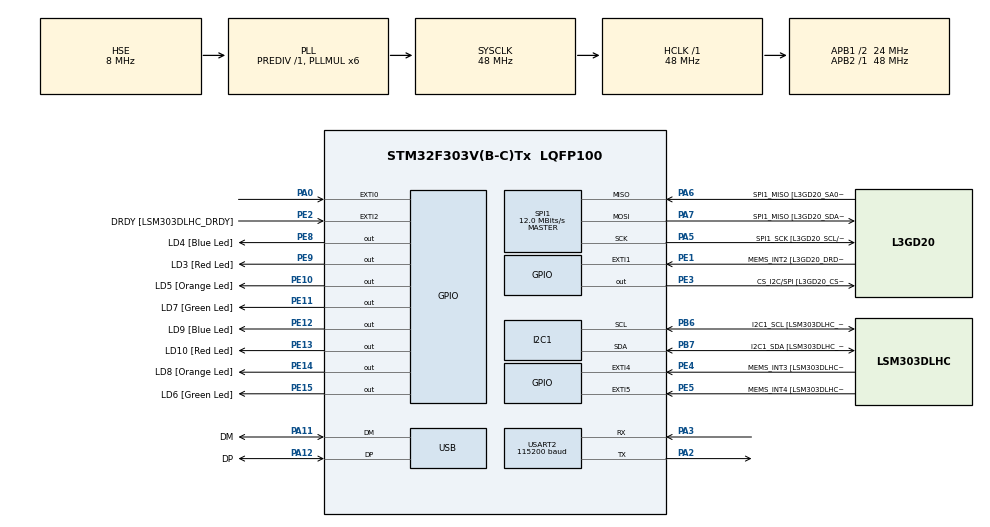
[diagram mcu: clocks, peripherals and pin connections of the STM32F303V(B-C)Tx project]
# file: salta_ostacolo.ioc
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I2C1.Timing=0x00201D2B
I2C1.Timing-I2C=0x2000090E
Mcu.Family=STM32F3
Mcu.Name=STM32F303V(B-C)Tx
Mcu.Package=LQFP100
NVIC.EXTI0_IRQn=true\:0\:0\:false\:false\:true\:true\:true\:true
NVIC.PriorityGroup=NVIC_PRIORITYGROUP_0
NVIC.TIM6_DAC_IRQn=true\:0\:0\:false\:false\:true\:true\:true\:true
PA0.Signal=GPXTI0
PA11.GPIO_Label=DM
PA11.Mode=Device
PA11.Signal=USB_DM
PA12.GPIO_Label=DP
PA12.Mode=Device
PA12.Signal=USB_DP
PA13.GPIO_Label=SWDIO
PA13.Mode=Serial_Wire
PA13.Signal=SYS_JTMS-SWDIO
PA14.GPIO_Label=SWCLK
PA14.Mode=Serial_Wire
PA14.Signal=SYS_JTCK-SWCLK
PA2.Mode=Asynchronous
PA2.Signal=USART2_TX
PA3.Mode=Asynchronous
PA3.Signal=USART2_RX
PA5.GPIO_Label=SPI1_SCK [L3GD20_SCL/SPC]
PA5.Mode=Full_Duplex_Master
PA5.Signal=SPI1_SCK
PA6.GPIO_Label=SPI1_MISO [L3GD20_SA0/SDO]
PA6.Mode=Full_Duplex_Master
PA6.Signal=SPI1_MISO
PA7.GPIO_Label=SPI1_MISO [L3GD20_SDA/SDI/SDO]
PA7.Mode=Full_Duplex_Master
PA7.Signal=SPI1_MOSI
PB3.GPIO_Label=SWO
PB3.Signal=SYS_JTDO-TRACESWO
PB6.GPIO_Label=I2C1_SCL [LSM303DLHC_SCL]
PB6.GPIO_Pu=GPIO_PULLUP
PB6.Mode=I2C
PB6.Signal=I2C1_SCL
PB7.GPIO_Label=I2C1_SDA [LSM303DLHC_SDA]
PB7.GPIO_Pu=GPIO_PULLUP
PB7.Mode=I2C
PB7.Signal=I2C1_SDA
PC14-OSC32_IN.GPIO_Label=OSC32_IN
PC14-OSC32_IN.Signal=RCC_OSC32_IN
PC15-OSC32_OUT.GPIO_Label=OSC32_OUT
PC15-OSC32_OUT.Signal=RCC_OSC32_OUT
PE1.GPIO_Label=MEMS_INT2 [L3GD20_DRDY/INT2]
PE1.GPIO_ModeDefaultEXTI=GPIO_MODE_EVT_RISING
PE1.Signal=GPXTI1
PE10.GPIO_Label=LD5 [Orange Led]
PE10.Signal=GPIO_Output
PE11.GPIO_Label=LD7 [Green Led]
PE11.Signal=GPIO_Output
PE12.GPIO_Label=LD9 [Blue Led]
PE12.Signal=GPIO_Output
PE13.GPIO_Label=LD10 [Red Led]
PE13.Signal=GPIO_Output
PE14.GPIO_Label=LD8 [Orange Led]
PE14.Signal=GPIO_Output
PE15.GPIO_Label=LD6 [Green Led]
PE15.Signal=GPIO_Output
PE2.GPIO_Label=DRDY [LSM303DLHC_DRDY]
PE2.GPIO_ModeDefaultEXTI=GPIO_MODE_EVT_RISING
PE2.Signal=GPXTI2
PE3.GPIO_Label=CS_I2C/SPI [L3GD20_CS_I2C/SPI]
PE3.Signal=GPIO_Output
PE4.GPIO_Label=MEMS_INT3 [LSM303DLHC_INT1]
PE4.GPIO_ModeDefaultEXTI=GPIO_MODE_EVT_RISING
PE4.Signal=GPXTI4
PE5.GPIO_Label=MEMS_INT4 [LSM303DLHC_INT2]
PE5.GPIO_ModeDefaultEXTI=GPIO_MODE_EVT_RISING
PE5.Signal=GPXTI5
PE8.GPIO_Label=LD4 [Blue Led]
PE8.Signal=GPIO_Output
PE9.GPIO_Label=LD3 [Red Led]
PE9.Signal=GPIO_Output
PF0-OSC_IN.GPIO_Label=OSC_IN
PF0-OSC_IN.Mode=HSE-External-Clock-Source
PF0-OSC_IN.Signal=RCC_OSC_IN
PF1-OSC_OUT.GPIO_Label=OSC_OUT
PF1-OSC_OUT.Signal=RCC_OSC_OUT
ProjectManager.HeapSize=0x200
ProjectManager.StackSize=0x400
ProjectManager.TargetToolchain=STM32CubeIDE
RCC.AHBFreq_Value=48000000
RCC.APB1CLKDivider=RCC_HCLK_DIV2
RCC.APB1Freq_Value=24000000
RCC.APB1TimFreq_Value=48000000
RCC.APB2Freq_Value=48000000
RCC.APB2TimFreq_Value=48000000
RCC.CortexFreq_Value=48000000
RCC.HCLKFreq_Value=48000000
RCC.HSE_VALUE=8000000
RCC.HSI_VALUE=8000000
RCC.LSE_VALUE=32768
RCC.PLLMUL=RCC_PLL_MUL6
RCC.SYSCLKFreq_VALUE=48000000
RCC.SYSCLKSourceVirtual=RCC_SYSCLKSOURCE_PLLCLK
RCC.USBFreq_Value=48000000
SPI1.BaudRatePrescaler=SPI_BAUDRATEPRESCALER_4
SPI1.BaudRatePrescaler-Full_Duplex_Master=SPI_BAUDRATEPRESCALER_2
SPI1.CalculateBaudRate=12.0 MBits/s
SPI1.CalculateBaudRate-Full_Duplex_Master=24.0 MBits/s
SPI1.Direction=SPI_DIRECTION_2LINES
SPI1.Mode=SPI_MODE_MASTER
SPI1.Mode-Full_Duplex_Master=SPI_MODE_MASTER
SPI1.VirtualType=VM_MASTER
TIM6.AutoReloadPreload=TIM_AUTORELOAD_PRELOAD_ENABLE
TIM6.Period=99
TIM6.Prescaler=7199
TIM7.Period=999
TIM7.Prescaler=4799
USART2.BaudRate=115200
USART2.VirtualMode-Asynchronous=VM_ASYNC
VP_TIM6_VS_ClockSourceINT.Mode=Enable_Timer
VP_TIM7_VS_ClockSourceINT.Mode=Enable_Timer
board=STM32F3DISCOVERY

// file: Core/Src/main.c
/* USER CODE BEGIN Header */
/**
  ******************************************************************************
  * @file           : main.c
  * @brief          : Main program body
  ******************************************************************************
  * @attention
  *
  * Copyright (c) 2025 STMicroelectronics.
  * All rights reserved.
  *
  * This software is licensed under terms that can be found in the LICENSE file
  * in the root directory of this software component.
  * If no LICENSE file comes with this software, it is provided AS-IS.
  *
  ******************************************************************************
  */
/* USER CODE END Header */
#include "main.h"

/* USER CODE BEGIN Includes */
#include "game.h"
#include "mpu.h"
#include "display.h"
#include "serial_transmission.h"
#include <stdbool.h>
#include <stdlib.h>

/* USER CODE END Includes */

/* USER CODE BEGIN PD */
#define TRUE 0
#define FALSE 1
/* USER CODE END PD */

I2C_HandleTypeDef hi2c1;

SPI_HandleTypeDef hspi1;

TIM_HandleTypeDef htim6;
TIM_HandleTypeDef htim7;

UART_HandleTypeDef huart2;

PCD_HandleTypeDef hpcd_USB_FS;

/* USER CODE BEGIN PV */
Game gioco;
volatile int start_requested = FALSE;
volatile bool update_flag = FALSE;

/* USER CODE END PV */

void SystemClock_Config(void);
static void MX_GPIO_Init(void);
static void MX_I2C1_Init(void);
static void MX_SPI1_Init(void);
static void MX_USB_PCD_Init(void);
static void MX_TIM6_Init(void);
static void MX_USART2_UART_Init(void);
static void MX_TIM7_Init(void);

/* USER CODE BEGIN 0 */
void HAL_GPIO_EXTI_Callback(uint16_t GPIO_Pin) {
    if (GPIO_Pin == GPIO_PIN_0) {
        HAL_GPIO_TogglePin(GPIOE, GPIO_PIN_9);
        start_requested = TRUE;
    }
}

void HAL_TIM_PeriodElapsedCallback(TIM_HandleTypeDef *htim) {
    if (htim->Instance == TIM6) {
        update_flag = TRUE;

			//HAL_UART_Transmit(&huart2, (uint8_t*)msg, strlen(msg), HAL_MAX_DELAY);
		}
    }

void test_update_display() {
    Game game_test;
    game_test.y_giocatore = LCD_HEIGHT / 2;

    Nodo* nodo = malloc(sizeof(Nodo));
    if (nodo == NULL) return;

    nodo->ost.coord_x = LCD_WIDTH / 2;
    nodo->ost.estremita_inf = 10;
    nodo->ost.estremita_sup = 17;
    nodo->next = NULL;

    ListaOstacoli lis_test;
    lis_test.head = nodo;

    game_test.lista_ostacoli = lis_test;
    game_test.stato = IN_GIOCO;
    game_test.v_giocatore = 0.0f;
    game_test.durata_corrente = 0.0f;

    updateDisplay(&game_test);

    free(nodo);
}

void test_mpu() {
    gioco.y_giocatore = LCD_HEIGHT / 2;
    gioco.stato = IN_GIOCO;
    gioco.v_giocatore = 0.0f;
    gioco.durata_corrente = 0.0f;
    gioco.lista_ostacoli.head = NULL;
    updateDisplay(&gioco);
    HAL_TIM_Base_Start_IT(&htim6);
}
/* USER CODE END 0 */

int main(void)
{

  /* MCU Configuration--------------------------------------------------------*/

  /* Reset of all peripherals, Initializes the Flash interface and the Systick. */
  HAL_Init();

  /* Configure the system clock */
  SystemClock_Config();

  /* Initialize all configured peripherals */
  MX_GPIO_Init();
  MX_I2C1_Init();
  MX_SPI1_Init();
  MX_USB_PCD_Init();
  MX_TIM6_Init();
  MX_USART2_UART_Init();
  MX_TIM7_Init();
  /* USER CODE BEGIN 2 */
	HAL_TIM_Base_Init(&htim6);
	mpu_init();
	SSD1306_Init();
	SSD1306_ClearScreen();
	//test_mpu();
  /* USER CODE END 2 */

  /* Infinite loop */
  /* USER CODE BEGIN WHILE */
    while (1) {
    	switch(gioco.stato){
			case IN_GIOCO:
				if (update_flag == TRUE) {
					update_flag = FALSE;
					PosVel new_player = update_player(gioco.y_giocatore, gioco.v_giocatore);
					cleanDisplay(&gioco);
					updateGame(&gioco, new_player.pos, new_player.vel);
					updateDisplay(&gioco);
				break;
			case OVER:
				uint16_t count = __HAL_TIM_GET_COUNTER(&htim7);
				gioco.durata_corrente = (float)count;
				send_msg( "Per iniziare una nuova partita, premi user button \r\n");
				endGame(&gioco);
				HAL_TIM_Base_Stop_IT(&htim6);
				SSD1306_ClearScreen();
				while(start_requested == FALSE);
				send_msg( "Inizio gioco...\r\n");
				HAL_GPIO_TogglePin(GPIOE, GPIO_PIN_8);
				initGame(&gioco);
				updateDisplay(&gioco);
				HAL_TIM_Base_Start_IT(&htim6);
				HAL_TIM_Base_Start_IT(&htim7);
				start_requested = FALSE;

				break;
			case INATTIVO:
				send_msg("Premi user button per giocare...\r\n");
				while(start_requested == FALSE);
				send_msg("Inizio gioco... \r\n");
				HAL_GPIO_TogglePin(GPIOE, GPIO_PIN_8);
				initGame(&gioco);
				updateDisplay(&gioco);
				HAL_TIM_Base_Start_IT(&htim6);
				HAL_TIM_Base_Start_IT(&htim7);
				start_requested = FALSE;
				break;

    	}
        }
    }
    /* USER CODE END WHILE */

  }

void SystemClock_Config(void)
{
  RCC_OscInitTypeDef RCC_OscInitStruct = {0};
  RCC_ClkInitTypeDef RCC_ClkInitStruct = {0};
  RCC_PeriphCLKInitTypeDef PeriphClkInit = {0};

  /** Initializes the RCC Oscillators according to the specified parameters
  * in the RCC_OscInitTypeDef structure.
  */
  RCC_OscInitStruct.OscillatorType = RCC_OSCILLATORTYPE_HSI|RCC_OSCILLATORTYPE_HSE;
  RCC_OscInitStruct.HSEState = RCC_HSE_BYPASS;
  RCC_OscInitStruct.HSEPredivValue = RCC_HSE_PREDIV_DIV1;
  RCC_OscInitStruct.HSIState = RCC_HSI_ON;
  RCC_OscInitStruct.HSICalibrationValue = RCC_HSICALIBRATION_DEFAULT;
  RCC_OscInitStruct.PLL.PLLState = RCC_PLL_ON;
  RCC_OscInitStruct.PLL.PLLSource = RCC_PLLSOURCE_HSE;
  RCC_OscInitStruct.PLL.PLLMUL = RCC_PLL_MUL6;
  if (HAL_RCC_OscConfig(&RCC_OscInitStruct) != HAL_OK)
  {
    Error_Handler();
  }

  /** Initializes the CPU, AHB and APB buses clocks
  */
  RCC_ClkInitStruct.ClockType = RCC_CLOCKTYPE_HCLK|RCC_CLOCKTYPE_SYSCLK
                              |RCC_CLOCKTYPE_PCLK1|RCC_CLOCKTYPE_PCLK2;
  RCC_ClkInitStruct.SYSCLKSource = RCC_SYSCLKSOURCE_PLLCLK;
  RCC_ClkInitStruct.AHBCLKDivider = RCC_SYSCLK_DIV1;
  RCC_ClkInitStruct.APB1CLKDivider = RCC_HCLK_DIV2;
  RCC_ClkInitStruct.APB2CLKDivider = RCC_HCLK_DIV1;

  if (HAL_RCC_ClockConfig(&RCC_ClkInitStruct, FLASH_LATENCY_1) != HAL_OK)
  {
    Error_Handler();
  }
  PeriphClkInit.PeriphClockSelection = RCC_PERIPHCLK_USB|RCC_PERIPHCLK_USART2
                              |RCC_PERIPHCLK_I2C1;
  PeriphClkInit.Usart2ClockSelection = RCC_USART2CLKSOURCE_PCLK1;
  PeriphClkInit.I2c1ClockSelection = RCC_I2C1CLKSOURCE_HSI;
  PeriphClkInit.USBClockSelection = RCC_USBCLKSOURCE_PLL;
  if (HAL_RCCEx_PeriphCLKConfig(&PeriphClkInit) != HAL_OK)
  {
    Error_Handler();
  }
}

static void MX_I2C1_Init(void)
{

  hi2c1.Instance = I2C1;
  hi2c1.Init.Timing = 0x00201D2B;
  hi2c1.Init.OwnAddress1 = 0;
  hi2c1.Init.AddressingMode = I2C_ADDRESSINGMODE_7BIT;
  hi2c1.Init.DualAddressMode = I2C_DUALADDRESS_DISABLE;
  hi2c1.Init.OwnAddress2 = 0;
  hi2c1.Init.OwnAddress2Masks = I2C_OA2_NOMASK;
  hi2c1.Init.GeneralCallMode = I2C_GENERALCALL_DISABLE;
  hi2c1.Init.NoStretchMode = I2C_NOSTRETCH_DISABLE;
  if (HAL_I2C_Init(&hi2c1) != HAL_OK)
  {
    Error_Handler();
  }

  /** Configure Analogue filter
  */
  if (HAL_I2CEx_ConfigAnalogFilter(&hi2c1, I2C_ANALOGFILTER_ENABLE) != HAL_OK)
  {
    Error_Handler();
  }

  /** Configure Digital filter
  */
  if (HAL_I2CEx_ConfigDigitalFilter(&hi2c1, 0) != HAL_OK)
  {
    Error_Handler();
  }

}

static void MX_SPI1_Init(void)
{

  /* SPI1 parameter configuration*/
  hspi1.Instance = SPI1;
  hspi1.Init.Mode = SPI_MODE_MASTER;
  hspi1.Init.Direction = SPI_DIRECTION_2LINES;
  hspi1.Init.DataSize = SPI_DATASIZE_4BIT;
  hspi1.Init.CLKPolarity = SPI_POLARITY_LOW;
  hspi1.Init.CLKPhase = SPI_PHASE_1EDGE;
  hspi1.Init.NSS = SPI_NSS_SOFT;
  hspi1.Init.BaudRatePrescaler = SPI_BAUDRATEPRESCALER_4;
  hspi1.Init.FirstBit = SPI_FIRSTBIT_MSB;
  hspi1.Init.TIMode = SPI_TIMODE_DISABLE;
  hspi1.Init.CRCCalculation = SPI_CRCCALCULATION_DISABLE;
  hspi1.Init.CRCPolynomial = 7;
  hspi1.Init.CRCLength = SPI_CRC_LENGTH_DATASIZE;
  hspi1.Init.NSSPMode = SPI_NSS_PULSE_ENABLE;
  if (HAL_SPI_Init(&hspi1) != HAL_OK)
  {
    Error_Handler();
  }

}

static void MX_TIM6_Init(void)
{

  TIM_MasterConfigTypeDef sMasterConfig = {0};

  htim6.Instance = TIM6;
  htim6.Init.Prescaler = 7199;
  htim6.Init.CounterMode = TIM_COUNTERMODE_UP;
  htim6.Init.Period = 99;
  htim6.Init.AutoReloadPreload = TIM_AUTORELOAD_PRELOAD_ENABLE;
  if (HAL_TIM_Base_Init(&htim6) != HAL_OK)
  {
    Error_Handler();
  }
  sMasterConfig.MasterOutputTrigger = TIM_TRGO_RESET;
  sMasterConfig.MasterSlaveMode = TIM_MASTERSLAVEMODE_DISABLE;
  if (HAL_TIMEx_MasterConfigSynchronization(&htim6, &sMasterConfig) != HAL_OK)
  {
    Error_Handler();
  }

}

static void MX_TIM7_Init(void)
{

  TIM_MasterConfigTypeDef sMasterConfig = {0};

  htim7.Instance = TIM7;
  htim7.Init.Prescaler = 4799;
  htim7.Init.CounterMode = TIM_COUNTERMODE_UP;
  htim7.Init.Period = 999;
  htim7.Init.AutoReloadPreload = TIM_AUTORELOAD_PRELOAD_DISABLE;
  if (HAL_TIM_Base_Init(&htim7) != HAL_OK)
  {
    Error_Handler();
  }
  sMasterConfig.MasterOutputTrigger = TIM_TRGO_RESET;
  sMasterConfig.MasterSlaveMode = TIM_MASTERSLAVEMODE_DISABLE;
  if (HAL_TIMEx_MasterConfigSynchronization(&htim7, &sMasterConfig) != HAL_OK)
  {
    Error_Handler();
  }

}

static void MX_USART2_UART_Init(void)
{

  huart2.Instance = USART2;
  huart2.Init.BaudRate = 115200;
  huart2.Init.WordLength = UART_WORDLENGTH_8B;
  huart2.Init.StopBits = UART_STOPBITS_1;
  huart2.Init.Parity = UART_PARITY_NONE;
  huart2.Init.Mode = UART_MODE_TX_RX;
  huart2.Init.HwFlowCtl = UART_HWCONTROL_NONE;
  huart2.Init.OverSampling = UART_OVERSAMPLING_16;
  huart2.Init.OneBitSampling = UART_ONE_BIT_SAMPLE_DISABLE;
  huart2.AdvancedInit.AdvFeatureInit = UART_ADVFEATURE_NO_INIT;
  if (HAL_UART_Init(&huart2) != HAL_OK)
  {
    Error_Handler();
  }

}

static void MX_USB_PCD_Init(void)
{

  hpcd_USB_FS.Instance = USB;
  hpcd_USB_FS.Init.dev_endpoints = 8;
  hpcd_USB_FS.Init.speed = PCD_SPEED_FULL;
  hpcd_USB_FS.Init.phy_itface = PCD_PHY_EMBEDDED;
  hpcd_USB_FS.Init.low_power_enable = DISABLE;
  hpcd_USB_FS.Init.battery_charging_enable = DISABLE;
  if (HAL_PCD_Init(&hpcd_USB_FS) != HAL_OK)
  {
    Error_Handler();
  }

}

static void MX_GPIO_Init(void)
{
  GPIO_InitTypeDef GPIO_InitStruct = {0};

  /* GPIO Ports Clock Enable */
  __HAL_RCC_GPIOE_CLK_ENABLE();
  __HAL_RCC_GPIOC_CLK_ENABLE();
  __HAL_RCC_GPIOF_CLK_ENABLE();
  __HAL_RCC_GPIOA_CLK_ENABLE();
  __HAL_RCC_GPIOB_CLK_ENABLE();

  /*Configure GPIO pin Output Level */
  HAL_GPIO_WritePin(GPIOE, CS_I2C_SPI_Pin|LD4_Pin|LD3_Pin|LD5_Pin
                          |LD7_Pin|LD9_Pin|LD10_Pin|LD8_Pin
                          |LD6_Pin, GPIO_PIN_RESET);

  /*Configure GPIO pins : DRDY_Pin MEMS_INT3_Pin MEMS_INT4_Pin MEMS_INT2_Pin */
  GPIO_InitStruct.Pin = DRDY_Pin|MEMS_INT3_Pin|MEMS_INT4_Pin|MEMS_INT2_Pin;
  GPIO_InitStruct.Mode = GPIO_MODE_EVT_RISING;
  GPIO_InitStruct.Pull = GPIO_NOPULL;
  HAL_GPIO_Init(GPIOE, &GPIO_InitStruct);

  /*Configure GPIO pins : CS_I2C_SPI_Pin LD4_Pin LD3_Pin LD5_Pin
                           LD7_Pin LD9_Pin LD10_Pin LD8_Pin
                           LD6_Pin */
  GPIO_InitStruct.Pin = CS_I2C_SPI_Pin|LD4_Pin|LD3_Pin|LD5_Pin
                          |LD7_Pin|LD9_Pin|LD10_Pin|LD8_Pin
                          |LD6_Pin;
  GPIO_InitStruct.Mode = GPIO_MODE_OUTPUT_PP;
  GPIO_InitStruct.Pull = GPIO_NOPULL;
  GPIO_InitStruct.Speed = GPIO_SPEED_FREQ_LOW;
  HAL_GPIO_Init(GPIOE, &GPIO_InitStruct);

  /*Configure GPIO pin : PA0 */
  GPIO_InitStruct.Pin = GPIO_PIN_0;
  GPIO_InitStruct.Mode = GPIO_MODE_IT_RISING;
  GPIO_InitStruct.Pull = GPIO_NOPULL;
  HAL_GPIO_Init(GPIOA, &GPIO_InitStruct);

  /* EXTI interrupt init*/
  HAL_NVIC_SetPriority(EXTI0_IRQn, 0, 0);
  HAL_NVIC_EnableIRQ(EXTI0_IRQn);

}

void Error_Handler(void)
{
  __disable_irq();
  while (1)
  {
  }
}
